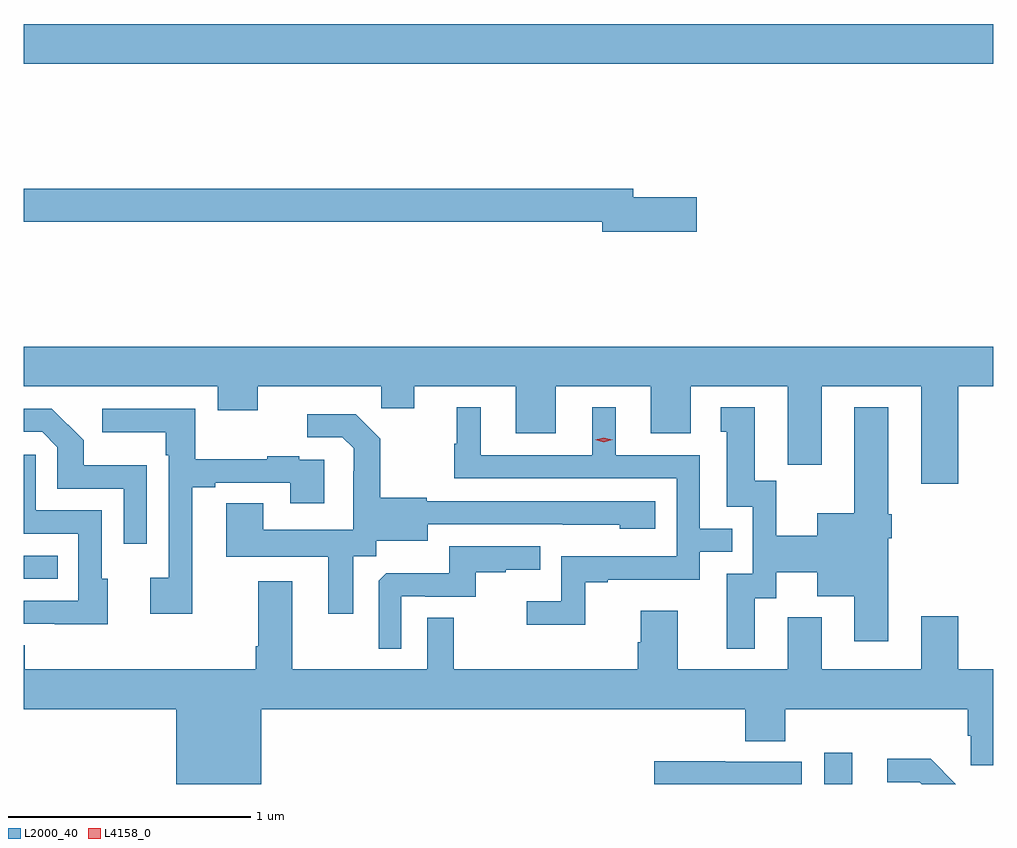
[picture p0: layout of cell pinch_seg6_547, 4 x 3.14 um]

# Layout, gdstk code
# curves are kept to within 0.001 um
import gdstk
lib = gdstk.Library(unit=1e-6, precision=1e-09)
def R(c, l, rs):  # rectangles x0, y0, x1, y1
    for r in rs: c.add(gdstk.rectangle(r[:2], r[2:], *l))
def P(c, l, *ps):  # polygons
    for p in ps: c.add(gdstk.Polygon(p, *l))
L2000_40 = (2000, 40)
L4158_0 = (4158, 0)

pinch_seg6_547 = lib.new_cell('pinch_seg6_547')
R(pinch_seg6_547, L2000_40, [(507.918,984.323,508.033,984.451), (504.615,985.17,504.755,985.266), (504.615,987.296,508.615,987.46)])
P(pinch_seg6_547, L2000_40, [(507.391,986.744),(507.13,986.744),(507.13,986.78),(504.615,986.78),(504.615,986.644),(507.002,986.644),(507.002,986.602),(507.391,986.602)],
  [(508.472,985.964),(508.615,985.964),(508.615,986.128),(504.615,986.128),(504.615,985.964),(505.415,985.964),(505.415,985.865),(505.579,985.865),(505.579,985.964),(506.089,985.964),(506.089,985.874),(506.227,985.874),(506.227,985.964),(506.645,985.964),(506.645,985.77),(506.809,985.77),(506.809,985.964),(507.203,985.964),(507.203,985.77),(507.367,985.77),(507.367,985.964),(507.767,985.964),(507.767,985.753),(507.768,985.753),(507.768,985.641),(507.907,985.641),(507.907,985.964),(508.319,985.964),(508.319,985.563),(508.472,985.563)],
  [(506.931,985.155),(507.025,985.155),(507.025,985.167),(507.405,985.167),(507.405,985.281),(507.539,985.281),(507.539,985.377),(507.405,985.377),(507.405,985.68),(507.058,985.68),(507.058,985.879),(506.96,985.879),(506.96,985.68),(506.5,985.68),(506.5,985.879),(506.402,985.879),(506.402,985.728),(506.391,985.728),(506.391,985.584),(507.309,985.584),(507.309,985.263),(506.832,985.263),(506.832,985.078),(506.691,985.078),(506.691,984.98),(506.931,984.98)],
  [(507.631,985.09),(507.721,985.09),(507.721,985.196),(507.89,985.196),(507.89,985.097),(508.043,985.097),(508.043,984.912),(508.183,984.912),(508.183,985.337),(508.196,985.337),(508.196,985.437),(508.183,985.437),(508.183,985.879),(508.043,985.879),(508.043,985.441),(507.89,985.441),(507.89,985.348),(507.72,985.348),(507.72,985.575),(507.631,985.575),(507.631,985.879),(507.491,985.879),(507.491,985.776),(507.515,985.776),(507.515,985.467),(507.624,985.467),(507.624,985.191),(507.515,985.191),(507.515,984.882),(507.631,984.882)],
  [(505.122,985.639),(504.861,985.639),(504.861,985.742),(504.73,985.872),(504.615,985.872),(504.615,985.776),(504.69,985.776),(504.753,985.713),(504.753,985.542),(505.026,985.542),(505.026,985.314),(505.122,985.314)],
  [(505.309,985.548),(505.405,985.548),(505.405,985.566),(505.715,985.566),(505.715,985.482),(505.855,985.482),(505.855,985.662),(505.751,985.662),(505.751,985.675),(505.619,985.675),(505.619,985.664),(505.321,985.664),(505.321,985.872),(504.939,985.872),(504.939,985.775),(505.2,985.775),(505.2,985.679),(505.212,985.679),(505.212,985.174),(505.137,985.174),(505.137,985.026),(505.309,985.026)],
  [(505.975,985.264),(506.07,985.264),(506.07,985.328),(506.281,985.328),(506.281,985.395),(507.075,985.394),(507.075,985.376),(507.22,985.376),(507.22,985.491),(506.277,985.491),(506.277,985.504),(506.085,985.504),(506.085,985.749),(505.985,985.849),(505.785,985.849),(505.785,985.755),(505.929,985.755),(505.976,985.708),(505.976,985.613),(505.974,985.613),(505.974,985.372),(505.603,985.372),(505.603,985.481),(505.451,985.481),(505.451,985.262),(505.871,985.262),(505.871,985.026),(505.975,985.026)],
  [(504.961,985.17),(504.936,985.17),(504.936,985.452),(504.663,985.452),(504.663,985.681),(504.615,985.681),(504.615,985.356),(504.84,985.356),(504.84,985.08),(504.615,985.08),(504.615,984.984),(504.743,984.984),(504.743,984.983),(504.961,984.983)],
  [(506.172,985.098),(506.272,985.098),(506.272,985.095),(506.48,985.095),(506.48,985.197),(506.603,985.197),(506.603,985.208),(506.747,985.208),(506.747,985.305),(506.37,985.305),(506.37,985.193),(506.111,985.193),(506.079,985.161),(506.079,984.881),(506.172,984.881)],
  [(505.594,984.632),(507.593,984.632),(507.593,984.499),(507.758,984.499),(507.758,984.632),(508.511,984.632),(508.511,984.523),(508.524,984.523),(508.524,984.4),(508.615,984.4),(508.615,984.796),(508.472,984.796),(508.472,985.015),(508.319,985.015),(508.319,984.796),(507.907,984.796),(507.907,985.012),(507.767,985.012),(507.767,984.796),(507.313,984.796),(507.313,985.039),(507.161,985.039),(507.161,984.909),(507.149,984.909),(507.149,984.796),(506.389,984.796),(506.389,985.01),(506.28,985.01),(506.28,984.796),(505.723,984.796),(505.723,985.159),(505.583,985.159),(505.583,984.892),(505.571,984.892),(505.571,984.796),(504.619,984.796),(504.619,984.895),(504.615,984.895),(504.615,984.632),(505.244,984.632),(505.244,984.323),(505.594,984.323)],
  [(508.357,984.428),(508.179,984.428),(508.179,984.33),(508.313,984.33),(508.32,984.323),(508.462,984.323)],
  [(507.825,984.414),(507.509,984.414),(507.509,984.416),(507.217,984.416),(507.217,984.323),(507.825,984.323)])
P(pinch_seg6_547, L4158_0, [(507.009,985.733),(506.973,985.743),(506.973,985.743),(506.973,985.744),(507.009,985.753),(507.044,985.744),(507.045,985.743),(507.044,985.743)])

lib.write_gds('pinch_seg6_547.gds')
